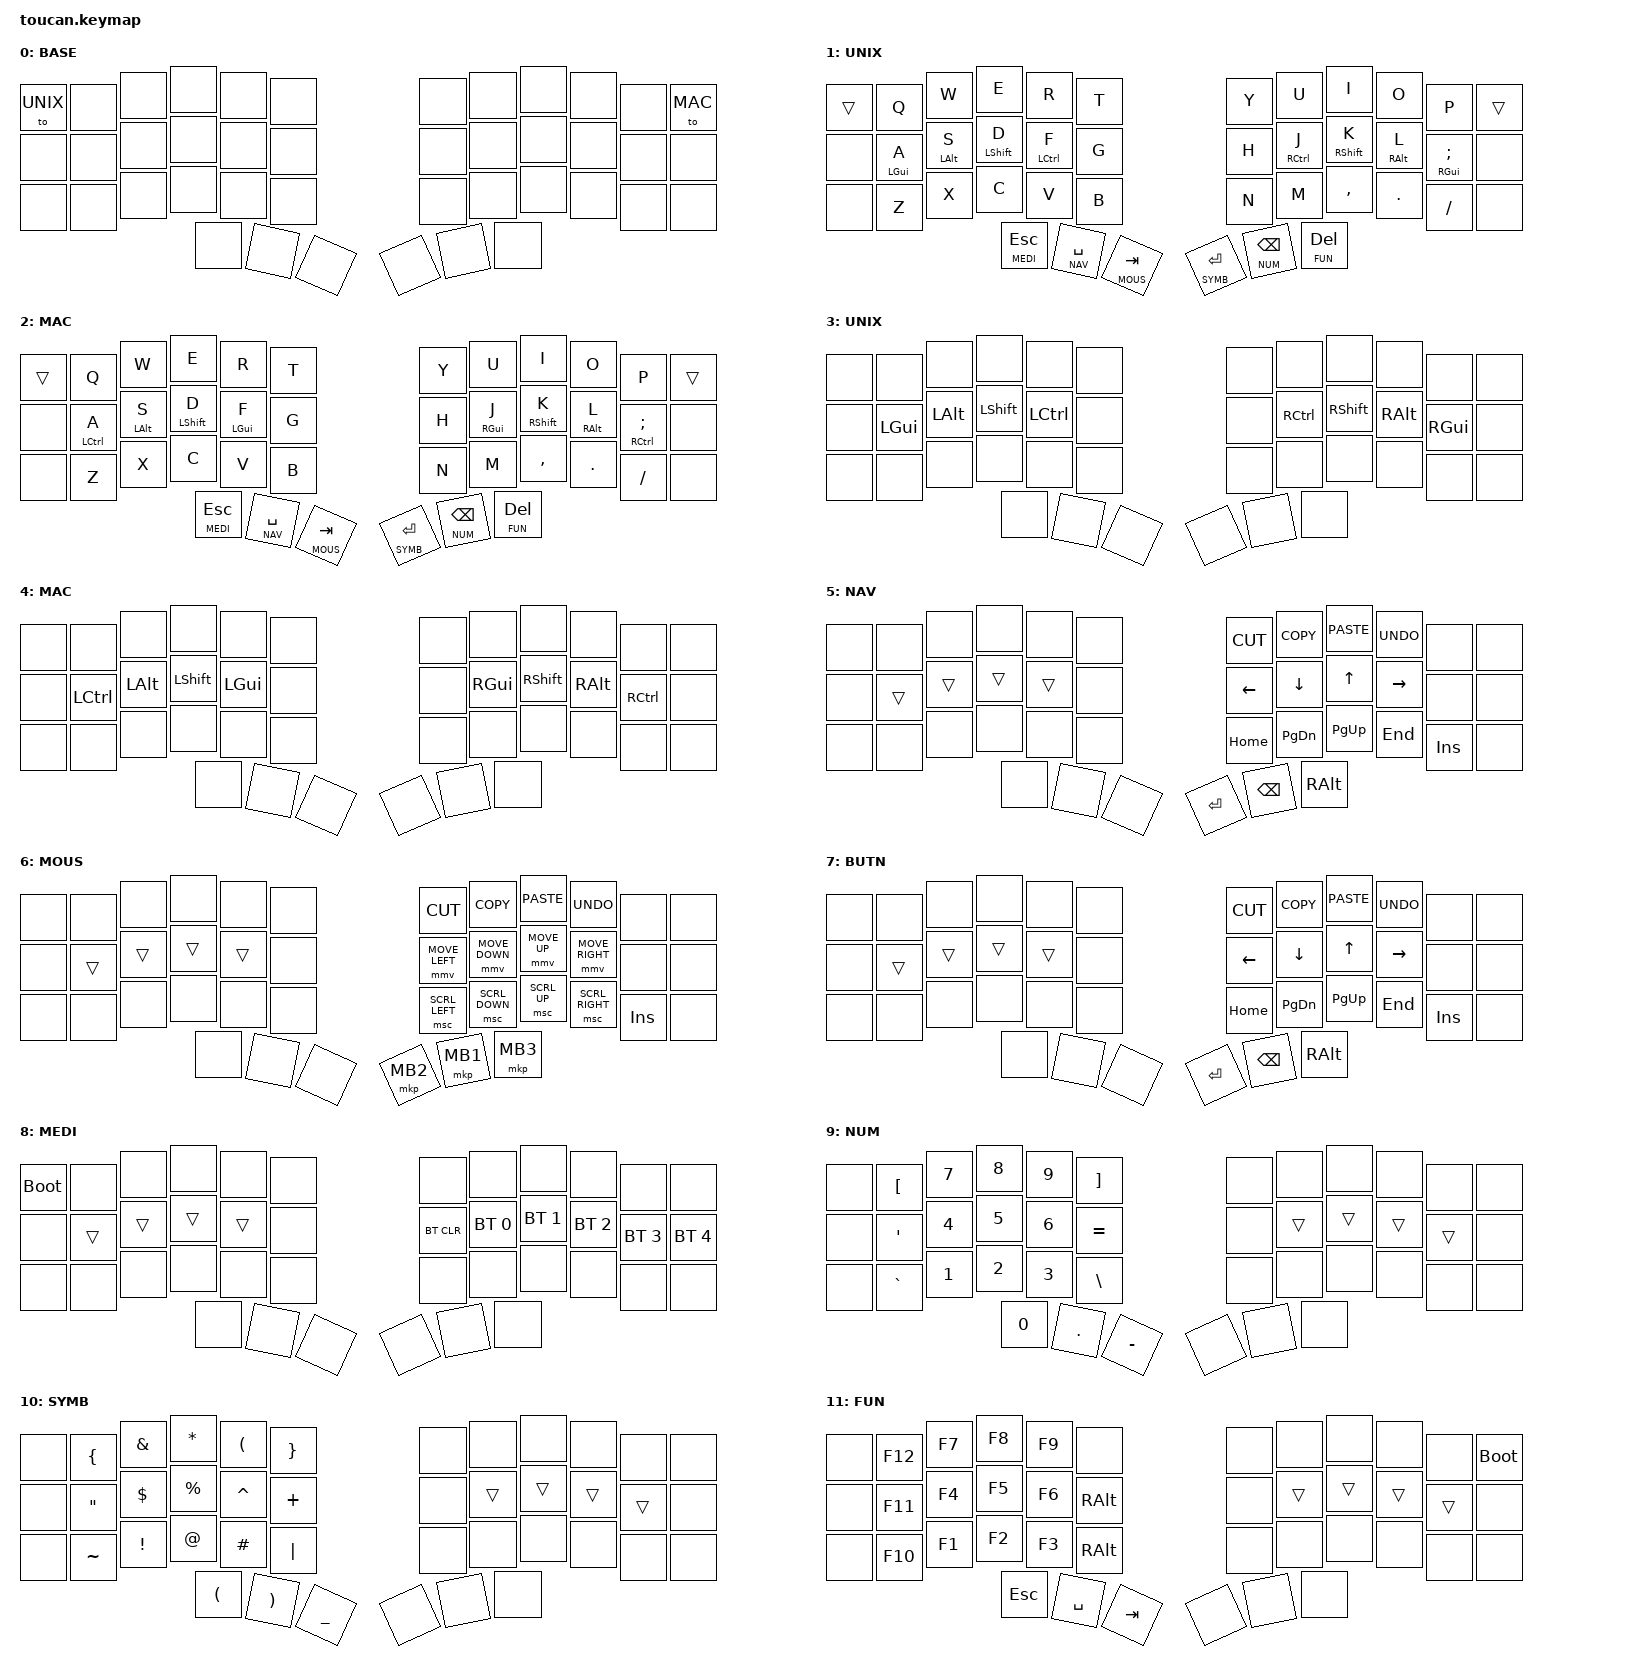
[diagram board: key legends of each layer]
#include <behaviors.dtsi>
#include <dt-bindings/zmk/keys.h>
#include <dt-bindings/zmk/bt.h>
#include <dt-bindings/zmk/outputs.h>
#include <dt-bindings/zmk/pointing.h>

#define BASE      0
#define UNIX      1
#define MAC       2
#define UNIXCOND  3
#define MACCOND   4
#define NAV       5
#define MOUS      6
#define BUTN      7
#define MEDI      8
#define NUM       9
#define SYMB     10
#define FUN      11

#define _______ &none

#define MY_AGUI &mt LGUI   A
#define MY_SALT &mt LALT   S
#define MY_DSFT &mt LSHIFT D
#define MY_FCTL &mt LCTRL  F

#define MY_JCTL &mt RCTRL  J
#define MY_KSFT &mt RSHIFT K
#define MY_LALT &mt RALT   L
#define MY_CGUI &mt RGUI   SEMICOLON

#define MY_ACTL &mt LCTRL A
#define MY_FGUI &mt LGUI  F

#define MY_JGUI &mt RGUI  J
#define MY_CCTL &mt RCTRL SEMICOLON

#define TG_MEDI &lt MEDI ESCAPE 
#define TG_NAV  &lt NAV  SPACE 
#define TG_MOUS &lt MOUS TAB 

#define TG_SYMB &lt SYMB ENTER 
#define TG_NUM  &lt NUM  BACKSPACE
#define TG_FUN  &lt FUN  DELETE 

#define TG_BUTN &lt BUTN KC_Z   

#define UNIX_COND(target) \
unix_cond_##target { \
    if-layers = <UNIX target>; \
    then-layer = <UNIXCOND>; \
};

#define MAC_COND(target) \
mac_cond_##target { \
    if-layers = <MAC target>; \
    then-layer = <MACCOND>; \
};

/ {
    conitional_layers {
        compatible = "zmk,conditional-layers";
        UNIX_COND( NAV)
        UNIX_COND(MOUS)
        UNIX_COND(BUTN)
        UNIX_COND(MEDI)
        UNIX_COND( NUM)
        UNIX_COND(SYMB)
        UNIX_COND( FUN)

        MAC_COND( NAV)
        MAC_COND(MOUS)
        MAC_COND(BUTN)
        MAC_COND(MEDI)
        MAC_COND( NUM)
        MAC_COND(SYMB)
        MAC_COND( FUN)
    };

    keymap {
        compatible = "zmk,keymap";

        base {
            display-name = "BASE";
            bindings = <
                &to UNIX  _______  _______  _______  _______  _______        _______  _______  _______  _______  _______  &to MAC
                _______   _______  _______  _______  _______  _______        _______  _______  _______  _______  _______  _______
                _______   _______  _______  _______  _______  _______        _______  _______  _______  _______  _______  _______
                                            _______  _______  _______        _______  _______  _______
            >;
        };

        unix {
            display-name = "UNIX";
            bindings = <
                &trans   &kp   Q  &kp   W  &kp   E  &kp   R   &kp T        &kp Y   &kp   U  &kp     I  &kp   O  &kp    P  &trans
                _______  MY_AGUI  MY_SALT  MY_DSFT  MY_FCTL   &kp G        &kp H   MY_JCTL    MY_KSFT  MY_LALT   MY_CGUI  _______
                _______  &kp   Z  &kp   X  &kp   C  &kp   V   &kp B        &kp N   &kp   M  &kp COMMA  &kp DOT  &kp FSLH  _______
                                           TG_MEDI  TG_NAV  TG_MOUS        TG_SYMB  TG_NUM     TG_FUN
            >;
        };

        mac {
            display-name = "MAC";
            bindings = <
                &trans   &kp   Q  &kp   W  &kp   E  &kp   R   &kp T        &kp Y   &kp   U  &kp     I  &kp   O  &kp    P  &trans
                _______  MY_ACTL  MY_SALT  MY_DSFT  MY_FGUI   &kp G        &kp H   MY_JGUI    MY_KSFT  MY_LALT   MY_CCTL  _______
                _______  &kp   Z  &kp   X  &kp   C  &kp   V   &kp B        &kp N   &kp   M  &kp COMMA  &kp DOT  &kp FSLH  _______
                                           TG_MEDI  TG_NAV  TG_MOUS        TG_SYMB  TG_NUM     TG_FUN
            >;
        };

        unixcond {
            display-name = "UNIX";
            bindings = <
                _______    _______  _______     _______    _______  _______        _______   _______      _______   _______   _______  _______
                _______  &kp LGUI  &kp LALT  &kp LSHIFT  &kp LCTRL  _______        _______  &kp RCTRL  &kp RSHIFT  &kp RALT  &kp RGUI  _______
                _______    _______  _______     _______    _______  _______        _______   _______      _______   _______   _______  _______
                                                _______    _______  _______        _______   _______      _______
            >;
        };

        maccond {
            display-name = "MAC";
            bindings = <
                _______    _______   _______     _______   _______  _______        _______   _______     _______   _______    _______  _______
                _______  &kp LCTRL  &kp LALT  &kp LSHIFT  &kp LGUI  _______        _______  &kp RGUI  &kp RSHIFT  &kp RALT  &kp RCTRL  _______
                _______    _______   _______     _______   _______  _______        _______   _______     _______   _______    _______  _______
                                                 _______   _______  _______        _______   _______     _______
            >;
        };

        nav {
            display-name = "NAV";
            bindings = <
                _______  _______  _______  _______  _______  _______        &kp K_CUT  &kp K_COPY  &kp K_PASTE  &kp K_UNDO  _______  _______
                _______  &trans   &trans   &trans   &trans   _______        &kp  LEFT  &kp   DOWN  &kp      UP  &kp  RIGHT  _______  _______
                _______  _______  _______  _______  _______  _______        &kp HOME   &kp  PG_DN  &kp   PG_UP  &kp    END  &kp INS  _______
                                           _______  _______  _______        &kp  RET   &kp   BSPC  &kp    RALT
            >;
        };

        mous {
            display-name = "MOUS";
            bindings = <
                _______  _______  _______  _______  _______  _______        &kp      K_CUT  &kp     K_COPY  &kp  K_PASTE       &kp K_UNDO  _______  _______
                _______  &trans   &trans   &trans   &trans   _______        &mmv MOVE_LEFT  &mmv MOVE_DOWN  &mmv MOVE_UP  &mmv MOVE_RIGHT  _______  _______
                _______  _______  _______  _______  _______  _______        &msc SCRL_LEFT  &msc SCRL_DOWN  &msc SCRL_UP  &msc SCRL_RIGHT  &kp INS  _______
                                           _______  _______  _______        &mkp       MB2  &mkp       MB1  &mkp     MB3
            >;
        };

        butn {
            display-name = "BUTN";
            bindings = <
                _______  _______  _______  _______  _______  _______        &kp K_CUT  &kp K_COPY  &kp K_PASTE  &kp K_UNDO  _______  _______
                _______  &trans   &trans   &trans   &trans   _______        &kp  LEFT  &kp   DOWN  &kp      UP  &kp  RIGHT  _______  _______
                _______  _______  _______  _______  _______  _______        &kp HOME   &kp  PG_DN  &kp   PG_UP  &kp    END  &kp INS  _______
                                           _______  _______  _______        &kp  RET   &kp   BSPC  &kp    RALT
            >;
        };

        medi {
            display-name = "MEDI";
            bindings = <
                &bootloader  _______  _______  _______  _______  _______           _______       _______       _______       _______        _______      _______
                    _______  &trans   &trans   &trans   &trans   _______        &bt BT_CLR  &bt BT_SEL 0  &bt BT_SEL 1  &bt BT_SEL 2  &bt BT_SEL 3  &bt BT_SEL 4
                    _______  _______  _______  _______  _______  _______           _______       _______       _______       _______        _______      _______
                                               _______  _______  _______           _______       _______       _______
            >;
        };

        num {
            display-name = "NUM";
            bindings = <
                _______  &kp  LBKT  &kp N7  &kp N8  &kp  N9  &kp  RBKT       _______  _______  _______  _______  _______  _______
                _______  &kp   SQT  &kp N4  &kp N5  &kp  N6  &kp EQUAL       _______  &trans   &trans   &trans   &trans   _______
                _______  &kp GRAVE  &kp N1  &kp N2  &kp  N3  &kp  BSLH       _______  _______  _______  _______  _______  _______
                                            &kp N0  &kp DOT  &kp MINUS       _______  _______  _______
            >;
        };

        symb {
            display-name = "SYMB";
            bindings = <
                _______  &kp  LBRC  &kp AMPS  &kp ASTRK  &kp  LPAR  &kp  RBRC       _______  _______  _______  _______  _______  _______
                _______  &kp   DQT  &kp DLLR  &kp PRCNT  &kp CARET  &kp  PLUS       _______  &trans   &trans   &trans   &trans   _______
                _______  &kp TILDE  &kp EXCL  &kp    AT  &kp  HASH  &kp  PIPE       _______  _______  _______  _______  _______  _______
                                              &kp  LPAR  &kp  RPAR  &kp UNDER       _______  _______  _______
            >;
        };

        fun {
            display-name = "FUN";
            bindings = <
                _______  &kp F12  &kp F7  &kp     F8  &kp    F9    _______       _______  _______  _______  _______  _______  &bootloader
                _______  &kp F11  &kp F4  &kp     F5  &kp    F6  &kp  RALT       _______  &trans   &trans   &trans   &trans   _______
                _______  &kp F10  &kp F1  &kp     F2  &kp    F3  &kp  RALT       _______  _______  _______  _______  _______  _______
                                          &kp ESCAPE  &kp SPACE  &kp   TAB       _______  _______  _______
            >;
        };
        extra_1 {
                status = "reserved";
        };

        extra_2 {
                status = "reserved";
        };

        extra_3 {
                status = "reserved";
        };
    };
};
